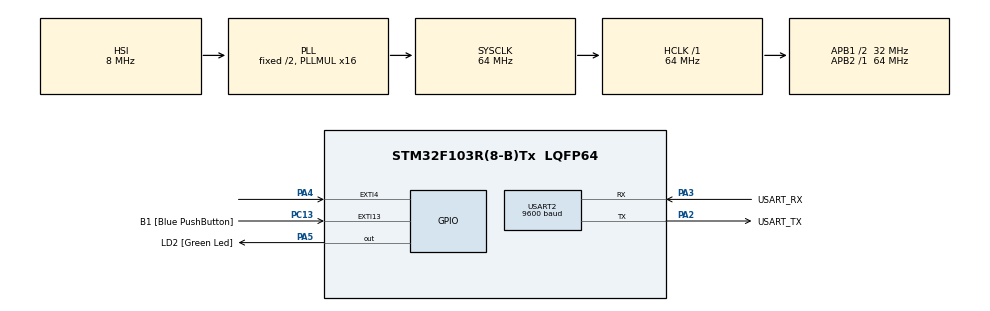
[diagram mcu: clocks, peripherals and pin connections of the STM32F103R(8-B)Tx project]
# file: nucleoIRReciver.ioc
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Mcu.Family=STM32F1
Mcu.Name=STM32F103R(8-B)Tx
Mcu.Package=LQFP64
NVIC.EXTI15_10_IRQn=true\:0\:0\:false\:false\:true\:true\:true\:true
NVIC.EXTI4_IRQn=true\:0\:0\:false\:false\:true\:true\:true\:true
NVIC.PriorityGroup=NVIC_PRIORITYGROUP_4
PA13.GPIO_Label=TMS
PA13.Mode=Serial_Wire
PA13.Signal=SYS_JTMS-SWDIO
PA14.GPIO_Label=TCK
PA14.Mode=Serial_Wire
PA14.Signal=SYS_JTCK-SWCLK
PA2.GPIO_Label=USART_TX
PA2.GPIO_Mode=GPIO_MODE_AF_PP
PA2.GPIO_PuPd=GPIO_NOPULL
PA2.GPIO_Speed=GPIO_SPEED_FREQ_LOW
PA2.Mode=Asynchronous
PA2.Signal=USART2_TX
PA3.GPIO_Label=USART_RX
PA3.GPIO_Mode=GPIO_MODE_AF_PP
PA3.GPIO_PuPd=GPIO_NOPULL
PA3.GPIO_Speed=GPIO_SPEED_FREQ_LOW
PA3.Mode=Asynchronous
PA3.Signal=USART2_RX
PA4.GPIO_ModeDefaultEXTI=GPIO_MODE_IT_FALLING
PA4.GPIO_PuPd=GPIO_PULLUP
PA4.Signal=GPXTI4
PA5.GPIO_Label=LD2 [Green Led]
PA5.GPIO_ModeDefaultOutputPP=GPIO_MODE_OUTPUT_PP
PA5.GPIO_PuPd=GPIO_NOPULL
PA5.GPIO_Speed=GPIO_SPEED_FREQ_LOW
PA5.Signal=GPIO_Output
PB3.GPIO_Label=SWO
PB3.Signal=SYS_JTDO-TRACESWO
PC13-TAMPER-RTC.GPIO_Label=B1 [Blue PushButton]
PC13-TAMPER-RTC.GPIO_PuPd=GPIO_NOPULL
PC13-TAMPER-RTC.Signal=GPXTI13
PC14-OSC32_IN.Mode=LSE-External-Oscillator
PC14-OSC32_IN.Signal=RCC_OSC32_IN
PC15-OSC32_OUT.Mode=LSE-External-Oscillator
PC15-OSC32_OUT.Signal=RCC_OSC32_OUT
PD0-OSC_IN.Mode=HSE-External-Clock-Source
PD0-OSC_IN.Signal=RCC_OSC_IN
PD1-OSC_OUT.Mode=HSE-External-Clock-Source
PD1-OSC_OUT.Signal=RCC_OSC_OUT
ProjectManager.HeapSize=0x200
ProjectManager.StackSize=0x400
ProjectManager.TargetToolchain=STM32CubeIDE
RCC.AHBFreq_Value=64000000
RCC.APB1CLKDivider=RCC_HCLK_DIV2
RCC.APB1Freq_Value=32000000
RCC.APB1TimFreq_Value=64000000
RCC.APB2Freq_Value=64000000
RCC.APB2TimFreq_Value=64000000
RCC.HCLKFreq_Value=64000000
RCC.PLLMUL=RCC_PLL_MUL16
RCC.RTCClockSelection=RCC_RTCCLKSOURCE_LSE
RCC.SYSCLKFreq_VALUE=64000000
RCC.SYSCLKSource=RCC_SYSCLKSOURCE_PLLCLK
RCC.USBFreq_Value=64000000
TIM2.Prescaler=63
USART2.BaudRate=9600
USART2.VirtualMode=VM_ASYNC
VP_TIM2_VS_ClockSourceINT.Mode=Internal
board=NUCLEO-F103RB

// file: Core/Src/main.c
/* USER CODE BEGIN Header */
/**
 ******************************************************************************
 * @file           : main.c
 * @brief          : Main program body
 ******************************************************************************
 * @attention
 *
 * Copyright (c) 2022 STMicroelectronics.
 * All rights reserved.
 *
 * This software is licensed under terms that can be found in the LICENSE file
 * in the root directory of this software component.
 * If no LICENSE file comes with this software, it is provided AS-IS.
 *
 ******************************************************************************
 */
/* USER CODE END Header */
#include "main.h"

 TIM_HandleTypeDef htim2;

UART_HandleTypeDef huart2;

/* USER CODE BEGIN PV */
int flag = 0;
uint32_t time_us, IC1, IC2;
int startBit = 0;
int dataBitCnt = 0;
int data[32]={0};
int data2 = 0;
/* USER CODE END PV */

void SystemClock_Config(void);
static void MX_GPIO_Init(void);
static void MX_USART2_UART_Init(void);
static void MX_TIM2_Init(void);

/* USER CODE BEGIN 0 */
#ifdef __GNUC__
/* With GCC, small printf (option LD Linker->Libraries->Small printf
   set to 'Yes') calls __io_putchar() */
#define PUTCHAR_PROTOTYPE int __io_putchar(int ch)
#else
#define PUTCHAR_PROTOTYPE int fputc(int ch, FILE *f)
#endif /* __GNUC__ */

PUTCHAR_PROTOTYPE
{
  /* Place your implementation of fputc here */
  /* e.g. write a character to the USART1 and Loop until the end of transmission */
  HAL_UART_Transmit(&huart2, (uint8_t *)&ch, 1, 0xFFFF);

  return ch;
}
void HAL_GPIO_EXTI_Callback(uint16_t GPIO_Pin) {

	if (flag == 0) {
		IC1 = TIM2->CNT;
		flag = 1;

	} else if (flag == 1) {
		IC2 = TIM2->CNT;
		flag = 0;
		time_us = IC2 - IC1;
		TIM2->CNT = 0;
		printf("%d\r\n",time_us);
	}
}
/* USER CODE END 0 */

int main(void)
{

  /* MCU Configuration--------------------------------------------------------*/

  /* Reset of all peripherals, Initializes the Flash interface and the Systick. */
  HAL_Init();

  /* Configure the system clock */
  SystemClock_Config();

  /* Initialize all configured peripherals */
  MX_GPIO_Init();
  MX_USART2_UART_Init();
  MX_TIM2_Init();
  /* USER CODE BEGIN 2 */
//printf("fsjdlkjlk");
HAL_TIM_Base_Start(&htim2);
  /* USER CODE END 2 */

  /* Infinite loop */
	while (1) {

    /* USER CODE BEGIN 3 */
		if (time_us > 12500 && time_us < 14500)
			startBit = 1;
		if (startBit == 1) {
			if (time_us > 1000 && time_us < 1200)
			{
				data[dataBitCnt] =0;
//				printf("%d\r\n",data[dataBitCnt]);

			}
			else if (time_us > 2100 && time_us < 2400)
			{
				data[dataBitCnt] = 1;
//				printf("%d\r\n",data[dataBitCnt]);
			}
				dataBitCnt++;
			if (dataBitCnt == 32) {
				dataBitCnt = 0;
				startBit = 0;
//				printf("0b");
				for(int idx =0;idx<32;idx++)
				{
//					printf("%d ",data[idx]);
				}

				for(int idx=32;idx>0;idx--)
					data2 = data2+(data[idx]<<idx);
//				printf("\r\n");
			}
			printf("%d\r\n",data2);
		}
		data2 = 0;
	}
  /* USER CODE END 3 */
}

void SystemClock_Config(void)
{
  RCC_OscInitTypeDef RCC_OscInitStruct = {0};
  RCC_ClkInitTypeDef RCC_ClkInitStruct = {0};

  /** Initializes the RCC Oscillators according to the specified parameters
  * in the RCC_OscInitTypeDef structure.
  */
  RCC_OscInitStruct.OscillatorType = RCC_OSCILLATORTYPE_HSI;
  RCC_OscInitStruct.HSIState = RCC_HSI_ON;
  RCC_OscInitStruct.HSICalibrationValue = RCC_HSICALIBRATION_DEFAULT;
  RCC_OscInitStruct.PLL.PLLState = RCC_PLL_ON;
  RCC_OscInitStruct.PLL.PLLSource = RCC_PLLSOURCE_HSI_DIV2;
  RCC_OscInitStruct.PLL.PLLMUL = RCC_PLL_MUL16;
  if (HAL_RCC_OscConfig(&RCC_OscInitStruct) != HAL_OK)
  {
    Error_Handler();
  }

  /** Initializes the CPU, AHB and APB buses clocks
  */
  RCC_ClkInitStruct.ClockType = RCC_CLOCKTYPE_HCLK|RCC_CLOCKTYPE_SYSCLK
                              |RCC_CLOCKTYPE_PCLK1|RCC_CLOCKTYPE_PCLK2;
  RCC_ClkInitStruct.SYSCLKSource = RCC_SYSCLKSOURCE_PLLCLK;
  RCC_ClkInitStruct.AHBCLKDivider = RCC_SYSCLK_DIV1;
  RCC_ClkInitStruct.APB1CLKDivider = RCC_HCLK_DIV2;
  RCC_ClkInitStruct.APB2CLKDivider = RCC_HCLK_DIV1;

  if (HAL_RCC_ClockConfig(&RCC_ClkInitStruct, FLASH_LATENCY_2) != HAL_OK)
  {
    Error_Handler();
  }
}

static void MX_TIM2_Init(void)
{

  TIM_ClockConfigTypeDef sClockSourceConfig = {0};
  TIM_MasterConfigTypeDef sMasterConfig = {0};

  htim2.Instance = TIM2;
  htim2.Init.Prescaler = 63;
  htim2.Init.CounterMode = TIM_COUNTERMODE_UP;
  htim2.Init.Period = 65535;
  htim2.Init.ClockDivision = TIM_CLOCKDIVISION_DIV1;
  htim2.Init.AutoReloadPreload = TIM_AUTORELOAD_PRELOAD_DISABLE;
  if (HAL_TIM_Base_Init(&htim2) != HAL_OK)
  {
    Error_Handler();
  }
  sClockSourceConfig.ClockSource = TIM_CLOCKSOURCE_INTERNAL;
  if (HAL_TIM_ConfigClockSource(&htim2, &sClockSourceConfig) != HAL_OK)
  {
    Error_Handler();
  }
  sMasterConfig.MasterOutputTrigger = TIM_TRGO_RESET;
  sMasterConfig.MasterSlaveMode = TIM_MASTERSLAVEMODE_DISABLE;
  if (HAL_TIMEx_MasterConfigSynchronization(&htim2, &sMasterConfig) != HAL_OK)
  {
    Error_Handler();
  }

}

static void MX_USART2_UART_Init(void)
{

  huart2.Instance = USART2;
  huart2.Init.BaudRate = 9600;
  huart2.Init.WordLength = UART_WORDLENGTH_8B;
  huart2.Init.StopBits = UART_STOPBITS_1;
  huart2.Init.Parity = UART_PARITY_NONE;
  huart2.Init.Mode = UART_MODE_TX_RX;
  huart2.Init.HwFlowCtl = UART_HWCONTROL_NONE;
  huart2.Init.OverSampling = UART_OVERSAMPLING_16;
  if (HAL_UART_Init(&huart2) != HAL_OK)
  {
    Error_Handler();
  }

}

static void MX_GPIO_Init(void)
{
  GPIO_InitTypeDef GPIO_InitStruct = {0};

  /* GPIO Ports Clock Enable */
  __HAL_RCC_GPIOC_CLK_ENABLE();
  __HAL_RCC_GPIOD_CLK_ENABLE();
  __HAL_RCC_GPIOA_CLK_ENABLE();
  __HAL_RCC_GPIOB_CLK_ENABLE();

  /*Configure GPIO pin Output Level */
  HAL_GPIO_WritePin(LD2_GPIO_Port, LD2_Pin, GPIO_PIN_RESET);

  /*Configure GPIO pin : B1_Pin */
  GPIO_InitStruct.Pin = B1_Pin;
  GPIO_InitStruct.Mode = GPIO_MODE_IT_RISING;
  GPIO_InitStruct.Pull = GPIO_NOPULL;
  HAL_GPIO_Init(B1_GPIO_Port, &GPIO_InitStruct);

  /*Configure GPIO pin : PA4 */
  GPIO_InitStruct.Pin = GPIO_PIN_4;
  GPIO_InitStruct.Mode = GPIO_MODE_IT_FALLING;
  GPIO_InitStruct.Pull = GPIO_PULLUP;
  HAL_GPIO_Init(GPIOA, &GPIO_InitStruct);

  /*Configure GPIO pin : LD2_Pin */
  GPIO_InitStruct.Pin = LD2_Pin;
  GPIO_InitStruct.Mode = GPIO_MODE_OUTPUT_PP;
  GPIO_InitStruct.Pull = GPIO_NOPULL;
  GPIO_InitStruct.Speed = GPIO_SPEED_FREQ_LOW;
  HAL_GPIO_Init(LD2_GPIO_Port, &GPIO_InitStruct);

  /* EXTI interrupt init*/
  HAL_NVIC_SetPriority(EXTI4_IRQn, 0, 0);
  HAL_NVIC_EnableIRQ(EXTI4_IRQn);

  HAL_NVIC_SetPriority(EXTI15_10_IRQn, 0, 0);
  HAL_NVIC_EnableIRQ(EXTI15_10_IRQn);

}

void Error_Handler(void)
{
	__disable_irq();
	while (1) {
	}
}
